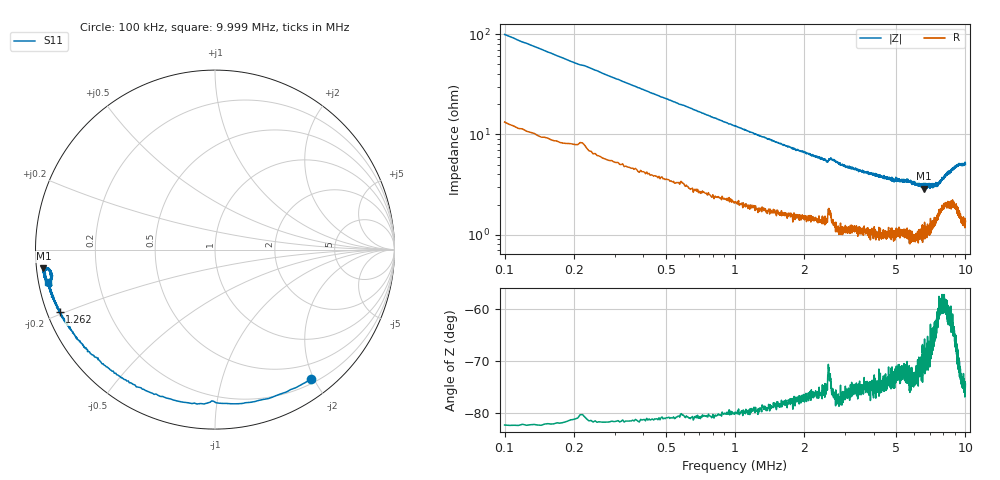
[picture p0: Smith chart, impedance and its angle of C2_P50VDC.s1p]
# HZ S RI R 50
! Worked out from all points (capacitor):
!   2020 points, 100 kHz to 9.999 MHz, reference 50 ohm
!   read as one part to ground: C = 15.1 nF near 149 kHz
!   lowest |Z| = 2.87 ohm at 6.631 MHz (marker M1)
!   S11 on the Smith chart (normalised r, x): 100 kHz: 0.27, -1.97; 1.262 MHz: 0.04, -0.19; 9.999 MHz: 0.03, -0.10
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100000  0.5375 -0.719
129418  0.3726 -0.802
158836  0.2227 -0.8464
183351  0.1069 -0.8593
232381  -0.0618 -0.86
281411  -0.2226 -0.8405
315732  -0.3037 -0.8183
364762  -0.4051 -0.7774
457919  -0.5407 -0.6991
521658  -0.6067 -0.6528
590300  -0.6578 -0.6031
678554  -0.7125 -0.5548
766808  -0.7523 -0.5089
982540  -0.8198 -0.4226
1262011  -0.8644 -0.3465
1340459  -0.8701 -0.333
1816050  -0.9046 -0.2553
2468149  -0.9239 -0.2045
2576015  -0.9151 -0.2013
2860389  -0.9385 -0.1881
3816474  -0.9515 -0.1507
5052030  -0.951 -0.1258
6287586  -0.9543 -0.1114
6630796  -0.9556 -0.1035
7528045  -0.9346 -0.1095
8763601  -0.9098 -0.1463
9469633  -0.9226 -0.1796
9999157  -0.9305 -0.1815
